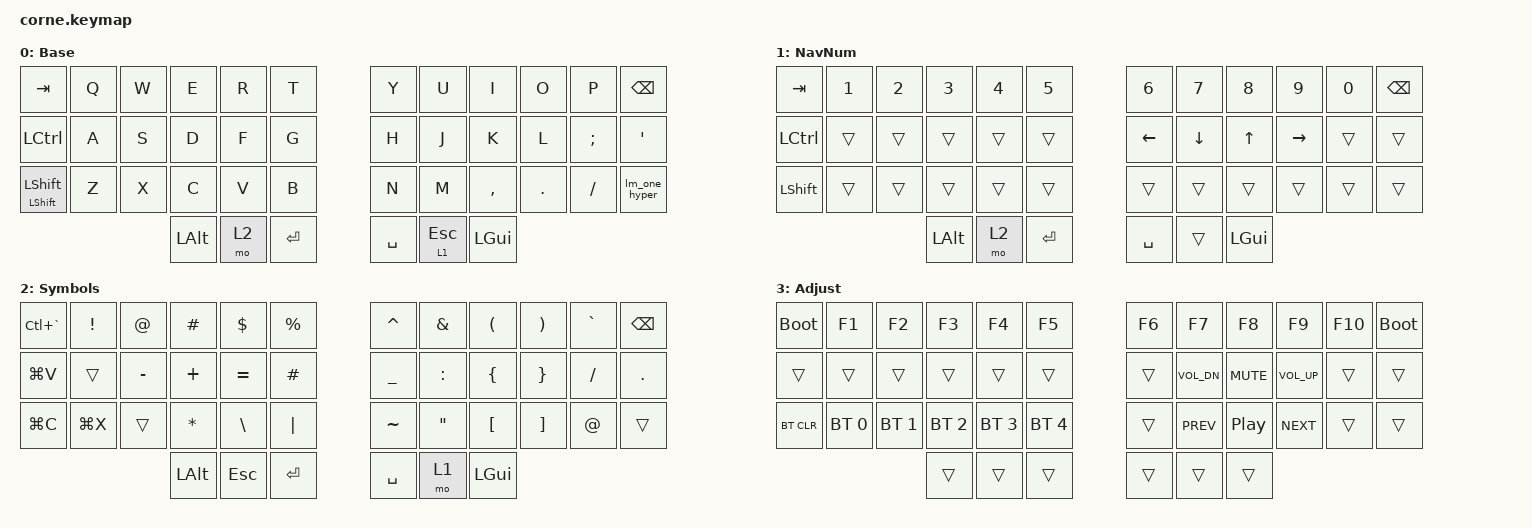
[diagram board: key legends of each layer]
#include <behaviors.dtsi>
#include <dt-bindings/zmk/keys.h>
#include <dt-bindings/zmk/bt.h>

#define HYPER    LS(LC(LA(LGUI)))



#define DEF 0
#define NAV 1
#define SYM 2
#define ADJ 3


/ {
    // Activate third layer when both are pressed
    conditional_layers {
        compatible = "zmk,conditional-layers";
        tri_layer {
                if-layers = <1 2>;
                    then-layer = <3>;
        };
    };

    behaviors {
        // Use this so the shift doesn't capitalize more than 1 key -> &skq LSHFT
        skq: sticky_key_quick_release {
            compatible = "zmk,behavior-sticky-key";
            #binding-cells = <1>;
            bindings = <&kp>;
            release-after-ms = <1000>;
            quick-release;
            ignore-modifiers;
      };
      // This will be used to make shift either on tap or hold -> &lht LSHFT LSHFT
        lht: leftshift_hold_tap {
            compatible = "zmk,behavior-hold-tap";
            #binding-cells = <2>;
            flavor = "tap-preferred";
            tapping-term-ms = <200>;
            bindings = <&kp>, <&skq>;
        };

        // Layer + Modifier  -> ( kind of &mo 1 + HYPER ) held
        lm_one_hyper: lm_one_hyper {
            compatible = "zmk,behavior-macro";
            #binding-cells = <0>;
            bindings
                = <&macro_press &mo 1>
                , <&macro_press &kp HYPER>
                , <&macro_pause_for_release>
                , <&macro_release &kp HYPER>
                , <&macro_release &mo 1>
                ;
        };

        // create a macro to switch the window to a different space, with &layer 1, &sk LS(LALT)

    };

    keymap {
        compatible = "zmk,keymap";

        DEF {
            display-name = "Base";
            bindings = <
                &kp TAB       &kp Q    &kp W    &kp E    &kp R    &kp T        &kp Y    &kp U    &kp I     &kp O    &kp P    &kp BSPC
                &kp LCTRL     &kp A    &kp S    &kp D    &kp F    &kp G        &kp H    &kp J    &kp K     &kp L    &kp SEMI &kp SQT
                &lht LSHFT LSHFT     &kp Z    &kp X    &kp C    &kp V    &kp B        &kp N    &kp M    &kp COMMA &kp DOT  &kp FSLH &lm_one_hyper
                                            &kp LALT   &mo 2    &kp RET        &kp SPACE &lt 1 ESC &kp LGUI
                >;
        };

        NAV {
            display-name = "NavNum";
            bindings = <
                &kp TAB    &kp N1    &kp N2   &kp N3   &kp N4   &kp N5       &kp N6   &kp N7   &kp N8   &kp N9   &kp N0   &kp BSPC
                &kp LCTRL  &trans    &trans   &trans   &trans   &trans       &kp LEFT &kp DOWN &kp UP   &kp RIGHT &trans   &trans
                &kp LSHFT  &trans    &trans   &trans   &trans   &trans       &trans   &trans   &trans   &trans   &trans   &trans
                                           &kp LALT   &mo 2    &kp RET       &kp SPACE &trans   &kp LGUI
            >;
        };


        SYM {
            display-name = "Symbols";
            bindings = <
                &kp LC(GRAVE)  &kp EXCL    &kp AT       &kp HASH &kp DLLR   &kp PRCNT     &kp CARET &kp AMPS  &kp LPAR &kp RPAR &kp GRAVE  &kp BSPC
                &kp LG(V)      &trans      &kp MINUS    &kp PLUS &kp EQUAL  &kp HASH      &kp UNDER &kp COLON &kp LBRC &kp RBRC &kp FSLH   &kp DOT
                &kp LG(C)      &kp LG(X)   &trans   &kp STAR &kp BSLH   &kp PIPE      &kp TILDE &kp DQT   &kp LBKT &kp RBKT &kp AT     &trans
                                                        &kp LALT  &kp ESC  &kp RET       &kp SPACE &mo 1 &kp LGUI
            >;
        };

         ADJ {
            display-name = "Adjust";
            bindings = <
                &bootloader &kp F1      &kp F2      &kp F3      &kp F4      &kp F5      &kp F6         &kp F7      &kp F8      &kp F9      &kp F10      &bootloader
                &trans      &trans      &trans      &trans      &trans      &trans         &trans      &kp C_VOL_DN &kp C_MUTE  &kp C_VOL_UP &trans      &trans
                &bt BT_CLR  &bt BT_SEL 0 &bt BT_SEL 1 &bt BT_SEL 2 &bt BT_SEL 3 &bt BT_SEL 4 &trans      &kp C_PREV   &kp C_PP    &kp C_NEXT  &trans      &trans
                                                       &trans      &trans      &trans      &trans      &trans         &trans
            >;
        };

    };
};
